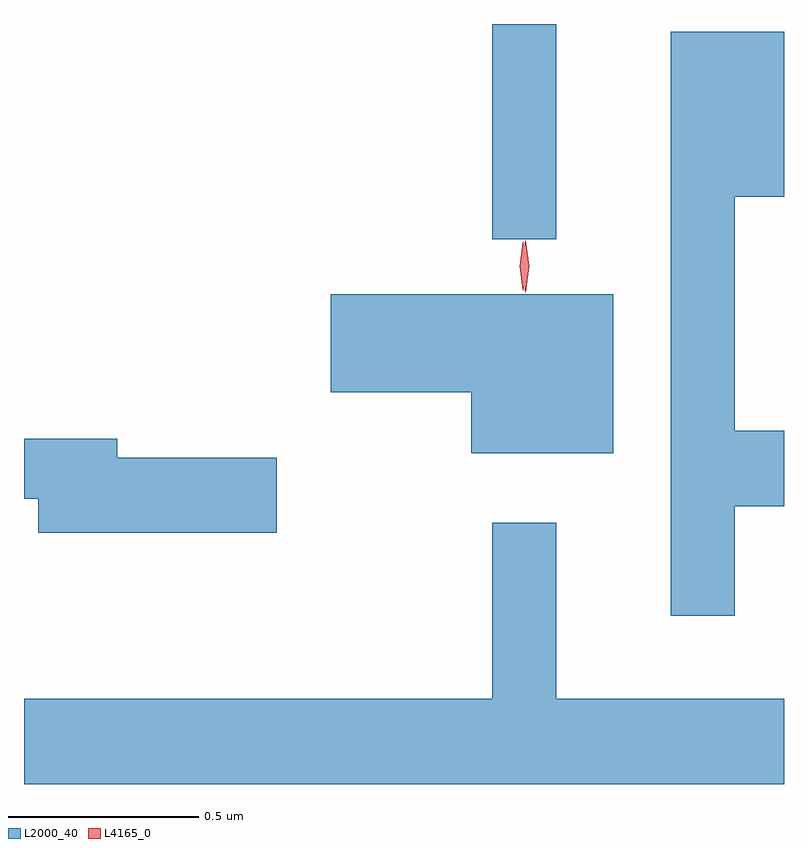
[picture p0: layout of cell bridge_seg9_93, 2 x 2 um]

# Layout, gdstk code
import gdstk
lib = gdstk.Library(unit=1e-6, precision=1e-09)
def R(c, l, rs):  # rectangles x0, y0, x1, y1
    for r in rs: c.add(gdstk.rectangle(r[:2], r[2:], *l))
def P(c, l, *ps):  # polygons
    for p in ps: c.add(gdstk.Polygon(p, *l))
L2000_40 = (2000, 40)
L4165_0 = (4165, 0)

bridge_seg9_93 = lib.new_cell('bridge_seg9_93')
R(bridge_seg9_93, L2000_40, [(1704.971,1993.293,1705.139,1993.86)])
P(bridge_seg9_93, L2000_40, [(1705.609,1992.591),(1705.739,1992.591),(1705.739,1992.789),(1705.609,1992.789),(1705.609,1993.406),(1705.739,1993.406),(1705.739,1993.839),(1705.441,1993.839),(1705.441,1992.303),(1705.609,1992.303)],
  [(1705.289,1993.149),(1704.546,1993.149),(1704.546,1992.891),(1704.916,1992.891),(1704.916,1992.731),(1705.289,1992.731)],
  [(1704.404,1992.719),(1703.984,1992.719),(1703.984,1992.769),(1703.739,1992.769),(1703.739,1992.611),(1703.776,1992.611),(1703.776,1992.521),(1704.404,1992.521)],
  [(1705.739,1992.084),(1705.139,1992.084),(1705.139,1992.548),(1704.971,1992.548),(1704.971,1992.084),(1703.739,1992.084),(1703.739,1991.86),(1705.739,1991.86)])
P(bridge_seg9_93, L4165_0, [(1705.058,1993.154),(1705.049,1993.222),(1705.058,1993.29),(1705.058,1993.29),(1705.059,1993.29),(1705.068,1993.222),(1705.059,1993.154),(1705.059,1993.154)],
  [(1705.052,1993.16),(1705.043,1993.223),(1705.052,1993.286),(1705.053,1993.287),(1705.053,1993.286),(1705.063,1993.223),(1705.053,1993.16),(1705.053,1993.16)])

lib.write_gds('bridge_seg9_93.gds')
